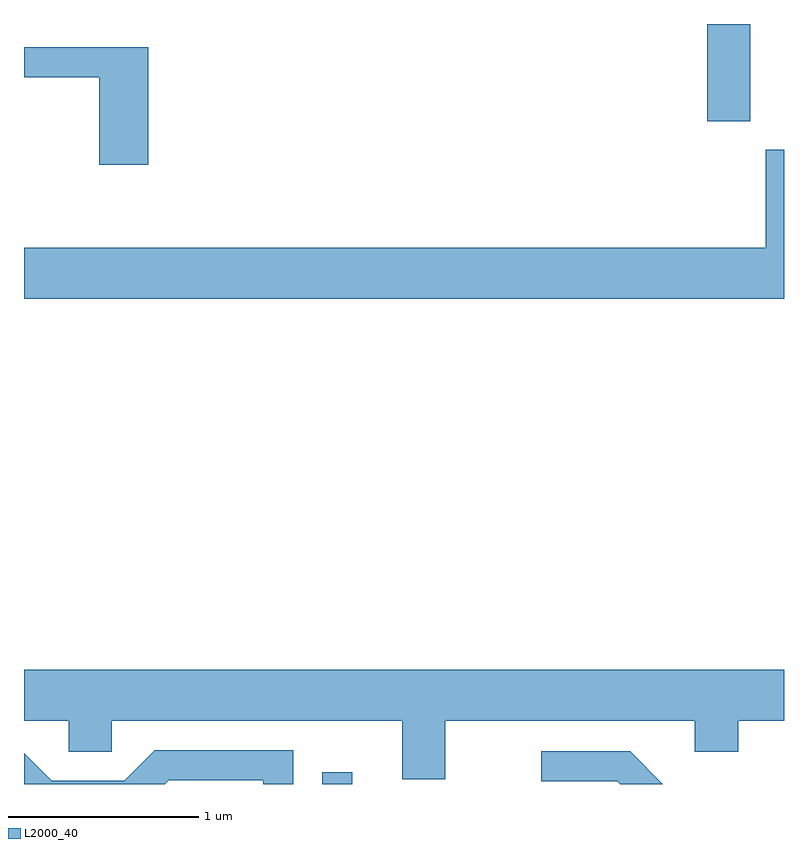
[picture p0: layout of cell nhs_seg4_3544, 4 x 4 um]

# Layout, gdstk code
import gdstk
lib = gdstk.Library(unit=1e-6, precision=1e-09)
def R(c, l, rs):  # rectangles x0, y0, x1, y1
    for r in rs: c.add(gdstk.rectangle(r[:2], r[2:], *l))
def P(c, l, *ps):  # polygons
    for p in ps: c.add(gdstk.Polygon(p, *l))
L2000_40 = (2000, 40)

nhs_seg4_3544 = lib.new_cell('nhs_seg4_3544')
R(nhs_seg4_3544, L2000_40, [(291.181,1269.982,291.339,1270.043), (293.206,1273.471,293.434,1273.982)])
P(nhs_seg4_3544, L2000_40, [(290.264,1273.859),(289.611,1273.859),(289.611,1273.701),(290.006,1273.701),(290.006,1273.241),(290.264,1273.241)],
  [(293.611,1273.319),(293.516,1273.319),(293.516,1272.804),(289.611,1272.804),(289.611,1272.536),(293.611,1272.536)],
  [(291.829,1270.316),(293.141,1270.316),(293.141,1270.151),(293.369,1270.151),(293.369,1270.316),(293.611,1270.316),(293.611,1270.584),(289.611,1270.584),(289.611,1270.316),(289.846,1270.316),(289.846,1270.151),(290.074,1270.151),(290.074,1270.316),(291.601,1270.316),(291.601,1270.006),(291.829,1270.006)],
  [(290.372,1270.001),(290.871,1270.001),(290.871,1269.982),(291.029,1269.982),(291.029,1270.159),(290.299,1270.159),(290.139,1269.999),(289.757,1269.999),(289.611,1270.145),(289.611,1269.982),(290.353,1269.982)],
  [(292.802,1270.154),(292.333,1270.154),(292.333,1269.996),(292.734,1269.996),(292.748,1269.982),(292.974,1269.982)])

lib.write_gds('nhs_seg4_3544.gds')
